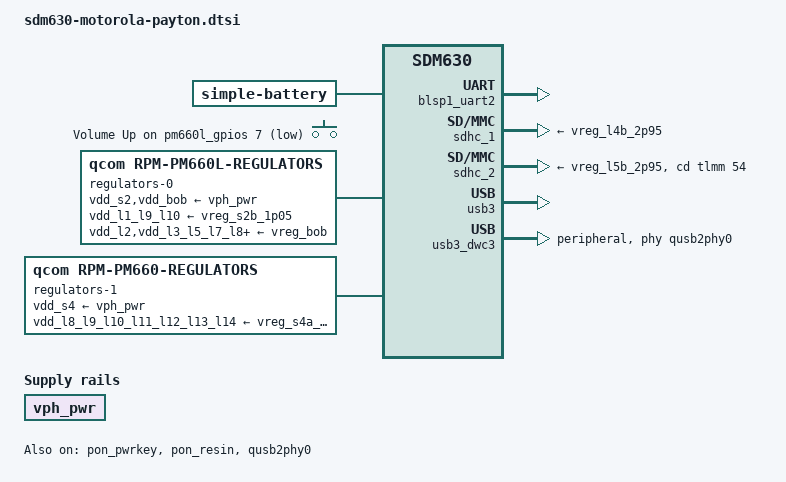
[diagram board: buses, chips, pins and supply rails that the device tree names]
// SPDX-License-Identifier: BSD-3-Clause
/*
 * Copyright (c) 2026, Fabricio Akio <fabricioakio@gmail.com>
 */

#include <dt-bindings/arm/qcom,ids.h>
#include <dt-bindings/gpio/gpio.h>
#include <dt-bindings/input/input.h>
#include <dt-bindings/pinctrl/qcom,pmic-gpio.h>
#include "sdm630.dtsi"
#include "pm660.dtsi"
#include "pm660l.dtsi"

/* The GPU is not described yet, and the dtsi default for its zap shader is above RAM's end. */
/delete-node/ &adreno_gpu_zap;
/delete-node/ &zap_shader_region;

/ {
	/* The bootloader matches these before it fills in the memory banks. */
	qcom,msm-id = <QCOM_ID_SDM630 0>;
	qcom,board-id = <0x42 0x82b0>;

	aliases {
		serial0 = &blsp1_uart2;
	};

	chosen {
		#address-cells = <2>;
		#size-cells = <2>;
		ranges;

		framebuffer0: framebuffer@9d400000 {
			compatible = "simple-framebuffer";
			reg = <0x0 0x9d400000 0x0 (1080 * 1920 * 4)>;
			width = <1080>;
			height = <1920>;
			stride = <(1080 * 4)>;
			format = "a8r8g8b8";

			/*
			 * The bootloader leaves these running to scan out its
			 * own framebuffer through the MMSS SMMU, and simpledrm
			 * claims none of them, so clk_disable_unused() gates
			 * them and the unused-domain sweep collapses the GDSC.
			 * Do not trim the list: MDSS_AXI_CLK is a branch of the
			 * MMSS AXI bus clock, and without it the board runs at
			 * a twentieth of its memory bandwidth until the display
			 * driver binds -- a 55s boot rather than 10s.
			 */
			clocks = <&mmcc MDSS_AHB_CLK>,
				 <&mmcc MDSS_AXI_CLK>,
				 <&mmcc MDSS_VSYNC_CLK>,
				 <&mmcc MDSS_MDP_CLK>,
				 <&mmcc MDSS_BYTE0_CLK>,
				 <&mmcc MDSS_BYTE0_INTF_CLK>,
				 <&mmcc MDSS_PCLK0_CLK>,
				 <&mmcc MDSS_ESC0_CLK>,
				 <&mmcc MNOC_AHB_CLK>,
				 <&mmcc BIMC_SMMU_AHB_CLK>,
				 <&mmcc BIMC_SMMU_AXI_CLK>;
			power-domains = <&mmcc MDSS_GDSC>;
		};
	};

	battery: battery {
		compatible = "simple-battery";

		charge-full-design-microamp-hours = <3000000>;
		constant-charge-current-max-microamp = <3000000>;
		voltage-min-design-microvolt = <3200000>;
		voltage-max-design-microvolt = <4400000>;
	};

	gpio-keys {
		compatible = "gpio-keys";

		pinctrl-names = "default";
		pinctrl-0 = <&vol_up_default>;

		key-volume-up {
			label = "Volume Up";
			gpios = <&pm660l_gpios 7 GPIO_ACTIVE_LOW>;
			linux,code = <KEY_VOLUMEUP>;
			debounce-interval = <15>;
			wakeup-source;
		};
	};

	reserved-memory {
		framebuffer_mem: memory@9d400000 {
			reg = <0x0 0x9d400000 0x0 0x2400000>;
			no-map;
		};

		/* Firmware writes to both; Motorola reserves them too. */
		tzlog_bck_mem: tzlog-bck@aefcf000 {
			reg = <0x0 0xaefcf000 0x0 0x3000>;
			no-map;
		};

		wdog_cpuctx_mem: wdog-cpuctx@aefd2000 {
			reg = <0x0 0xaefd2000 0x0 0x2e000>;
			no-map;
		};

		/*
		 * Motorola's zones, less its "annotate" zone, which mainline
		 * has no equivalent for; that 2 KiB goes to the dump zone.
		 */
		ramoops@af000000 {
			compatible = "ramoops";
			reg = <0x0 0xaf000000 0x0 0xc0000>;

			console-size = <0x40000>;
			pmsg-size = <0x40000>;
			record-size = <0x40000>;
		};
	};

	vph_pwr: regulator-vph-pwr {
		compatible = "regulator-fixed";
		regulator-name = "vph_pwr";

		regulator-always-on;
		regulator-boot-on;
	};
};

&blsp1_uart2 {
	status = "okay";
};

&pm660l_gpios {
	vol_up_default: vol-up-default-state {
		pins = "gpio7";
		function = PMIC_GPIO_FUNC_NORMAL;

		bias-pull-up;
		input-enable;
		output-disable;
	};
};

&pon_pwrkey {
	status = "okay";
};

&pon_resin {
	linux,code = <KEY_VOLUMEDOWN>;

	status = "okay";
};

&qusb2phy0 {
	vdd-supply = <&vreg_l1b_0p925>;
	vdda-pll-supply = <&vreg_l10a_1p8>;
	vdda-phy-dpdm-supply = <&vreg_l7b_3p125>;

	status = "okay";
};

&rpm_requests {
	regulators-0 {
		compatible = "qcom,rpm-pm660l-regulators";

		vdd_s2-supply = <&vph_pwr>;
		vdd_bob-supply = <&vph_pwr>;
		vdd_l1_l9_l10-supply = <&vreg_s2b_1p05>;
		vdd_l2-supply = <&vreg_bob>;
		vdd_l3_l5_l7_l8-supply = <&vreg_bob>;
		vdd_l4_l6-supply = <&vreg_bob>;

		vreg_s2b_1p05: s2 {
			regulator-min-microvolt = <1050000>;
			regulator-max-microvolt = <1050000>;
		};

		vreg_l1b_0p925: l1 {
			regulator-min-microvolt = <800000>;
			regulator-max-microvolt = <925000>;
		};

		vreg_l2b_2p95: l2 {
			regulator-min-microvolt = <350000>;
			regulator-max-microvolt = <3100000>;
			regulator-allow-set-load;
		};

		vreg_l4b_2p95: l4 {
			regulator-min-microvolt = <1700000>;
			regulator-max-microvolt = <2950000>;
			regulator-allow-set-load;
		};

		vreg_l5b_2p95: l5 {
			regulator-min-microvolt = <1721000>;
			regulator-max-microvolt = <3600000>;
			regulator-allow-set-load;
		};

		vreg_l7b_3p125: l7 {
			regulator-min-microvolt = <2700000>;
			regulator-max-microvolt = <3125000>;
		};

		vreg_bob: bob {
			regulator-min-microvolt = <3300000>;
			regulator-max-microvolt = <3600000>;
		};
	};

	regulators-1 {
		compatible = "qcom,rpm-pm660-regulators";

		vdd_s4-supply = <&vph_pwr>;
		vdd_l8_l9_l10_l11_l12_l13_l14-supply = <&vreg_s4a_2p04>;

		vreg_s4a_2p04: s4 {
			regulator-min-microvolt = <1805000>;
			regulator-max-microvolt = <2040000>;
		};

		vreg_l8a_1p8: l8 {
			regulator-min-microvolt = <1750000>;
			regulator-max-microvolt = <1900000>;
			regulator-allow-set-load;
		};

		vreg_l10a_1p8: l10 {
			regulator-min-microvolt = <1780000>;
			regulator-max-microvolt = <1950000>;
			regulator-allow-set-load;
		};
	};
};

&sdhc_1 {
	mmc-ddr-1_8v;
	mmc-hs200-1_8v;
	mmc-hs400-1_8v;

	vmmc-supply = <&vreg_l4b_2p95>;
	vqmmc-supply = <&vreg_l8a_1p8>;

	status = "okay";
};

&sdhc_2 {
	cd-gpios = <&tlmm 54 GPIO_ACTIVE_HIGH>;

	vmmc-supply = <&vreg_l5b_2p95>;
	vqmmc-supply = <&vreg_l2b_2p95>;

	status = "okay";
};

&tlmm {
	/* blsp_spi1 */
	gpio-reserved-ranges = <0 4>;
};

&tz_mem {
	reg = <0x0 0x86200000 0x0 0x2d00000>;
};

&usb3 {
	/* No SSPHY is described, so the controller runs at high speed only. */
	qcom,select-utmi-as-pipe-clk;

	status = "okay";
};

&usb3_dwc3 {
	dr_mode = "peripheral";
	maximum-speed = "high-speed";
	phys = <&qusb2phy0>;
	phy-names = "usb2-phy";
};
